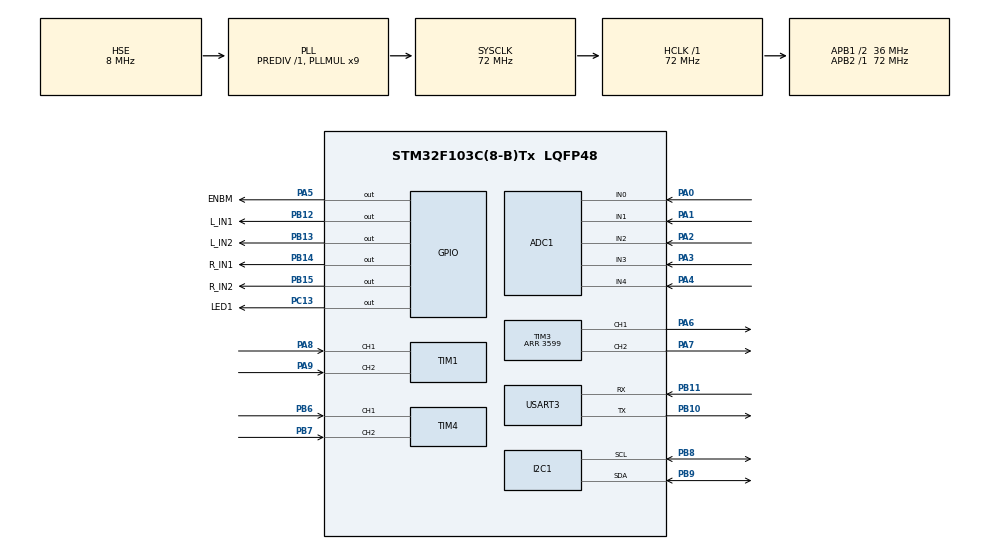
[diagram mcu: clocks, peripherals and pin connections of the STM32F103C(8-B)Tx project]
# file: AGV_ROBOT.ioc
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ADC1.Channel-0\#ChannelRegularConversion=ADC_CHANNEL_0
ADC1.Channel-1\#ChannelRegularConversion=ADC_CHANNEL_1
ADC1.Channel-2\#ChannelRegularConversion=ADC_CHANNEL_2
ADC1.Channel-3\#ChannelRegularConversion=ADC_CHANNEL_3
ADC1.Channel-4\#ChannelRegularConversion=ADC_CHANNEL_4
ADC1.ContinuousConvMode=ENABLE
ADC1.DataAlign=ADC_DATAALIGN_RIGHT
ADC1.NbrOfConversion=5
ADC1.NbrOfConversionFlag=1
ADC1.Rank-0\#ChannelRegularConversion=1
ADC1.Rank-1\#ChannelRegularConversion=2
ADC1.Rank-2\#ChannelRegularConversion=3
ADC1.Rank-3\#ChannelRegularConversion=4
ADC1.Rank-4\#ChannelRegularConversion=5
ADC1.SamplingTime-0\#ChannelRegularConversion=ADC_SAMPLETIME_239CYCLES_5
ADC1.SamplingTime-1\#ChannelRegularConversion=ADC_SAMPLETIME_239CYCLES_5
ADC1.SamplingTime-2\#ChannelRegularConversion=ADC_SAMPLETIME_239CYCLES_5
ADC1.SamplingTime-3\#ChannelRegularConversion=ADC_SAMPLETIME_239CYCLES_5
ADC1.SamplingTime-4\#ChannelRegularConversion=ADC_SAMPLETIME_239CYCLES_5
ADC1.master=1
Dma.ADC1.0.Direction=DMA_PERIPH_TO_MEMORY
Dma.ADC1.0.Instance=DMA1_Channel1
Dma.ADC1.0.MemDataAlignment=DMA_MDATAALIGN_HALFWORD
Dma.ADC1.0.MemInc=DMA_MINC_ENABLE
Dma.ADC1.0.Mode=DMA_CIRCULAR
Dma.ADC1.0.PeriphDataAlignment=DMA_PDATAALIGN_HALFWORD
Dma.ADC1.0.PeriphInc=DMA_PINC_DISABLE
Dma.ADC1.0.Priority=DMA_PRIORITY_HIGH
Dma.Request0=ADC1
Mcu.Family=STM32F1
Mcu.Name=STM32F103C(8-B)Tx
Mcu.Package=LQFP48
NVIC.DMA1_Channel1_IRQn=true\:0\:0\:false\:false\:true\:false\:true\:true
NVIC.PriorityGroup=NVIC_PRIORITYGROUP_4
PA0-WKUP.Signal=ADCx_IN0
PA1.Signal=ADCx_IN1
PA13.Mode=Serial_Wire
PA13.Signal=SYS_JTMS-SWDIO
PA14.Mode=Serial_Wire
PA14.Signal=SYS_JTCK-SWCLK
PA2.Signal=ADCx_IN2
PA3.Signal=ADCx_IN3
PA4.Signal=ADCx_IN4
PA5.GPIO_Label=ENBM
PA5.Signal=GPIO_Output
PA6.Signal=S_TIM3_CH1
PA7.Signal=S_TIM3_CH2
PA8.Signal=S_TIM1_CH1
PA9.Signal=S_TIM1_CH2
PB10.Mode=Asynchronous
PB10.Signal=USART3_TX
PB11.Mode=Asynchronous
PB11.Signal=USART3_RX
PB12.GPIO_Label=L_IN1
PB12.Signal=GPIO_Output
PB13.GPIO_Label=L_IN2
PB13.Signal=GPIO_Output
PB14.GPIO_Label=R_IN1
PB14.Signal=GPIO_Output
PB15.GPIO_Label=R_IN2
PB15.Signal=GPIO_Output
PB6.Signal=S_TIM4_CH1
PB7.Signal=S_TIM4_CH2
PB8.Mode=I2C
PB8.Signal=I2C1_SCL
PB9.Mode=I2C
PB9.Signal=I2C1_SDA
PC13-TAMPER-RTC.GPIO_Label=LED1
PC13-TAMPER-RTC.Signal=GPIO_Output
PC14-OSC32_IN.Mode=LSE-External-Clock-Source
PC14-OSC32_IN.Signal=RCC_OSC32_IN
PC15-OSC32_OUT.Mode=LSE-External-Clock-Source
PC15-OSC32_OUT.Signal=RCC_OSC32_OUT
PD0-OSC_IN.Mode=HSE-External-Oscillator
PD0-OSC_IN.Signal=RCC_OSC_IN
PD1-OSC_OUT.Mode=HSE-External-Oscillator
PD1-OSC_OUT.Signal=RCC_OSC_OUT
ProjectManager.HeapSize=0x200
ProjectManager.StackSize=0x400
ProjectManager.TargetToolchain=CMake
RCC.ADCPresc=RCC_ADCPCLK2_DIV6
RCC.AHBFreq_Value=72000000
RCC.APB1CLKDivider=RCC_HCLK_DIV2
RCC.APB1Freq_Value=36000000
RCC.APB1TimFreq_Value=72000000
RCC.APB2Freq_Value=72000000
RCC.APB2TimFreq_Value=72000000
RCC.HCLKFreq_Value=72000000
RCC.PLLMUL=RCC_PLL_MUL9
RCC.PLLSourceVirtual=RCC_PLLSOURCE_HSE
RCC.SYSCLKFreq_VALUE=72000000
RCC.SYSCLKSource=RCC_SYSCLKSOURCE_PLLCLK
RCC.USBFreq_Value=72000000
SH.ADCx_IN0.0=ADC1_IN0,IN0
SH.ADCx_IN1.0=ADC1_IN1,IN1
SH.ADCx_IN2.0=ADC1_IN2,IN2
SH.ADCx_IN3.0=ADC1_IN3,IN3
SH.ADCx_IN4.0=ADC1_IN4,IN4
SH.S_TIM1_CH1.0=TIM1_CH1,Encoder_Interface
SH.S_TIM1_CH2.0=TIM1_CH2,Encoder_Interface
SH.S_TIM3_CH1.0=TIM3_CH1,PWM Generation1 CH1
SH.S_TIM3_CH2.0=TIM3_CH2,PWM Generation2 CH2
SH.S_TIM4_CH1.0=TIM4_CH1,Encoder_Interface
SH.S_TIM4_CH2.0=TIM4_CH2,Encoder_Interface
TIM1.EncoderMode=TIM_ENCODERMODE_TI12
TIM1.IC1Filter=10
TIM1.IC2Filter=10
TIM3.Channel-PWM\ Generation1\ CH1=TIM_CHANNEL_1
TIM3.Channel-PWM\ Generation2\ CH2=TIM_CHANNEL_2
TIM3.Period=3599
TIM4.EncoderMode=TIM_ENCODERMODE_TI12
TIM4.IC1Filter=10
TIM4.IC2Filter=10
USART3.VirtualMode=VM_ASYNC
VP_TIM3_VS_ClockSourceINT.Mode=Internal
board=custom

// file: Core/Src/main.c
/* USER CODE BEGIN Header */
/**
  ******************************************************************************
  * @file           : main.c
  * @brief          : Main program body
  ******************************************************************************
  * @attention
  *
  * Copyright (c) 2026 STMicroelectronics.
  * All rights reserved.
  *
  * This software is licensed under terms that can be found in the LICENSE file
  * in the root directory of this software component.
  * If no LICENSE file comes with this software, it is provided AS-IS.
  *
  ******************************************************************************
  */
/* USER CODE END Header */
#include "main.h"

/* USER CODE BEGIN Includes */

#include "motor.h"
#include "motor_test.h"

#include "bsp_uart.h"
#include "color_sensor_test.h"

#include "line_sensor.h"
#include "line_sensor_test.h"

#include "line_tracking.h"

#include "robot_config.h"
#include "encoder.h"
#include "encoder_test.h"
#include "wheel_control.h"
#include "agv_motion.h"
#include "agv_mission.h"
#include "control_timer.h"
#include "motion_test.h"
#include "line_calib.h"
#include "line_auto_calib.h"

/* USER CODE END Includes */

/* USER CODE BEGIN PD */

/* ================= CHON CHE DO CHAY ================= */
#define APP_MODE_MISSION          0   /* chay nhiem vu day du (de 2) */
#define APP_MODE_ENCODER_TEST     1   /* B1: kiem tra encoder, xoay tay banh */
#define APP_MODE_SPEED_TEST       2   /* B2: nac vong toc do banh */
#define APP_MODE_STRAIGHT_TEST    3   /* B3: chay thang 1000 mm, hieu chuan mm/xung */
#define APP_MODE_FOLLOW_TEST      4   /* B4: bam line 3000 mm */
#define APP_MODE_LINE_SENSOR_TEST 5   /* in gia tri 5 mat do line */
#define APP_MODE_COLOR_TEST       6   /* in R,G,B,C cam bien mau */
#define APP_MODE_DUTY_TEST        7   /* B0: do mo hinh duty-toc do tung dong co */
#define APP_MODE_LINE_CALIB       8   /* tu dong do BLACK/WHITE 5 mat */

#define APP_MODE                  APP_MODE_MISSION  /* SAFETY: test calib before mission */

/* USER CODE END PD */

ADC_HandleTypeDef hadc1;
DMA_HandleTypeDef hdma_adc1;

I2C_HandleTypeDef hi2c1;

TIM_HandleTypeDef htim1;
TIM_HandleTypeDef htim3;
TIM_HandleTypeDef htim4;

UART_HandleTypeDef huart3;

void SystemClock_Config(void);
static void MX_GPIO_Init(void);
static void MX_DMA_Init(void);
static void MX_TIM3_Init(void);
static void MX_TIM1_Init(void);
static void MX_TIM4_Init(void);
static void MX_USART3_UART_Init(void);
static void MX_ADC1_Init(void);
static void MX_I2C1_Init(void);

int main(void)
{

  /* USER CODE BEGIN 1 */
  /* Lay co reset TRUOC HAL_Init/SystemClock_Config, va xoa co de
     lan reset tiep theo khong bi dinh co POR tu qua khu. */
  uint32_t reset_flags = RCC->CSR;
  __HAL_RCC_CLEAR_RESET_FLAGS();
  uint8_t manual_nrst =
      ((reset_flags & RCC_CSR_PINRSTF) != 0U) &&
      ((reset_flags & RCC_CSR_PORRSTF) == 0U);
  /* USER CODE END 1 */

  /* MCU Configuration--------------------------------------------------------*/

  /* Reset of all peripherals, Initializes the Flash interface and the Systick. */
  HAL_Init();

  /* Configure the system clock */
  SystemClock_Config();

  /* Initialize all configured peripherals */
  MX_GPIO_Init();
  MX_DMA_Init();
  MX_TIM3_Init();
  MX_TIM1_Init();
  MX_TIM4_Init();
  MX_USART3_UART_Init();
  MX_ADC1_Init();
  MX_I2C1_Init();
  /* USER CODE BEGIN 2 */
  /* ================= KHOI TAO ROBOT ================= */

  /* 1. UART */
  BSP_UART_Init(&huart3);

  /* 2. 5 cam bien line (ADC + DMA) */
  if (LineSensor_Init(&hadc1) != HAL_OK)
  {
      BSP_UART_Printf("LINE SENSOR INIT FAILED\r\n");
      Error_Handler();
  }

  /* Calib chi chay tren NRST (hoac lan dau Flash chua co data).
     Dong co chua khoi tao -> khong co chuyen dong tu dong. */
  if (LineAutoCalib_Boot(manual_nrst) != HAL_OK)
  {
      LineAutoCalib_ErrorBlink();
  }

#if (APP_MODE == APP_MODE_MISSION)

  /* 3. Dong co, encoder */
  if (Motor_Init() != MOTOR_OK)
  {
      BSP_UART_Printf("MOTOR INIT FAILED\r\n");
      Error_Handler();
  }

  if (Encoder_Init() != HAL_OK)
  {
      BSP_UART_Printf("ENCODER INIT FAILED\r\n");
      Error_Handler();
  }

  /* 4. Cam bien mau + may trang thai nhiem vu */
  if (AGV_Mission_Init(&hi2c1) != HAL_OK)
  {
      BSP_UART_Printf("COLOR SENSOR INIT FAILED\r\n");
  }

  AGV_Motion_Init();

  /* 5. Bat vong dieu khien 10 ms (TIM2) */
  if (ControlTimer_Init(AGV_Motion_Tick, ROBOT_CONTROL_PERIOD_MS) != HAL_OK)
  {
      Error_Handler();
  }

  BSP_UART_Printf("AGV READY\r\n");

#elif (APP_MODE == APP_MODE_ENCODER_TEST)

  EncoderTest_Init();

#elif (APP_MODE == APP_MODE_SPEED_TEST)

  MotionTest_Init(MOTION_TEST_SPEED);

#elif (APP_MODE == APP_MODE_STRAIGHT_TEST)

  MotionTest_Init(MOTION_TEST_STRAIGHT);

#elif (APP_MODE == APP_MODE_FOLLOW_TEST)

  MotionTest_Init(MOTION_TEST_FOLLOW);

#elif (APP_MODE == APP_MODE_LINE_SENSOR_TEST)

  LineSensorTest_Init();

#elif (APP_MODE == APP_MODE_COLOR_TEST)

  ColorSensorTest_Init(&hi2c1);

#elif (APP_MODE == APP_MODE_DUTY_TEST)

  MotionTest_Init(MOTION_TEST_DUTY);

#elif (APP_MODE == APP_MODE_LINE_CALIB)

  BSP_UART_Printf("LINE CALIB completed at boot; press NRST to recalibrate\r\n");

#endif

  /* USER CODE END 2 */

  /* Infinite loop */
  while (1)
  {

    /* USER CODE BEGIN 3 */

#if (APP_MODE == APP_MODE_MISSION)

    AGV_Mission_Run();

#elif (APP_MODE == APP_MODE_ENCODER_TEST)

    EncoderTest_Run();

#elif ((APP_MODE == APP_MODE_SPEED_TEST) || \
       (APP_MODE == APP_MODE_STRAIGHT_TEST) || \
       (APP_MODE == APP_MODE_FOLLOW_TEST) || \
       (APP_MODE == APP_MODE_DUTY_TEST))

    MotionTest_Run();

#elif (APP_MODE == APP_MODE_LINE_SENSOR_TEST)

    LineSensorTest_Run();

#elif (APP_MODE == APP_MODE_COLOR_TEST)

    ColorSensorTest_Run();

#elif (APP_MODE == APP_MODE_LINE_CALIB)

    LineSensor_Update();
    HAL_Delay(100U);

#endif

  }
  /* USER CODE END 3 */
}

void SystemClock_Config(void)
{
  RCC_OscInitTypeDef RCC_OscInitStruct = {0};
  RCC_ClkInitTypeDef RCC_ClkInitStruct = {0};
  RCC_PeriphCLKInitTypeDef PeriphClkInit = {0};

  /** Initializes the RCC Oscillators according to the specified parameters
  * in the RCC_OscInitTypeDef structure.
  */
  RCC_OscInitStruct.OscillatorType = RCC_OSCILLATORTYPE_HSE;
  RCC_OscInitStruct.HSEState = RCC_HSE_ON;
  RCC_OscInitStruct.HSEPredivValue = RCC_HSE_PREDIV_DIV1;
  RCC_OscInitStruct.HSIState = RCC_HSI_ON;
  RCC_OscInitStruct.PLL.PLLState = RCC_PLL_ON;
  RCC_OscInitStruct.PLL.PLLSource = RCC_PLLSOURCE_HSE;
  RCC_OscInitStruct.PLL.PLLMUL = RCC_PLL_MUL9;
  if (HAL_RCC_OscConfig(&RCC_OscInitStruct) != HAL_OK)
  {
    Error_Handler();
  }

  /** Initializes the CPU, AHB and APB buses clocks
  */
  RCC_ClkInitStruct.ClockType = RCC_CLOCKTYPE_HCLK|RCC_CLOCKTYPE_SYSCLK
                              |RCC_CLOCKTYPE_PCLK1|RCC_CLOCKTYPE_PCLK2;
  RCC_ClkInitStruct.SYSCLKSource = RCC_SYSCLKSOURCE_PLLCLK;
  RCC_ClkInitStruct.AHBCLKDivider = RCC_SYSCLK_DIV1;
  RCC_ClkInitStruct.APB1CLKDivider = RCC_HCLK_DIV2;
  RCC_ClkInitStruct.APB2CLKDivider = RCC_HCLK_DIV1;

  if (HAL_RCC_ClockConfig(&RCC_ClkInitStruct, FLASH_LATENCY_2) != HAL_OK)
  {
    Error_Handler();
  }
  PeriphClkInit.PeriphClockSelection = RCC_PERIPHCLK_ADC;
  PeriphClkInit.AdcClockSelection = RCC_ADCPCLK2_DIV6;
  if (HAL_RCCEx_PeriphCLKConfig(&PeriphClkInit) != HAL_OK)
  {
    Error_Handler();
  }
}

static void MX_ADC1_Init(void)
{

  ADC_ChannelConfTypeDef sConfig = {0};

  /** Common config
  */
  hadc1.Instance = ADC1;
  hadc1.Init.ScanConvMode = ADC_SCAN_ENABLE;
  hadc1.Init.ContinuousConvMode = ENABLE;
  hadc1.Init.DiscontinuousConvMode = DISABLE;
  hadc1.Init.ExternalTrigConv = ADC_SOFTWARE_START;
  hadc1.Init.DataAlign = ADC_DATAALIGN_RIGHT;
  hadc1.Init.NbrOfConversion = 5;
  if (HAL_ADC_Init(&hadc1) != HAL_OK)
  {
    Error_Handler();
  }

  /** Configure Regular Channel
  */
  sConfig.Channel = ADC_CHANNEL_0;
  sConfig.Rank = ADC_REGULAR_RANK_1;
  sConfig.SamplingTime = ADC_SAMPLETIME_239CYCLES_5;
  if (HAL_ADC_ConfigChannel(&hadc1, &sConfig) != HAL_OK)
  {
    Error_Handler();
  }

  /** Configure Regular Channel
  */
  sConfig.Channel = ADC_CHANNEL_1;
  sConfig.Rank = ADC_REGULAR_RANK_2;
  if (HAL_ADC_ConfigChannel(&hadc1, &sConfig) != HAL_OK)
  {
    Error_Handler();
  }

  /** Configure Regular Channel
  */
  sConfig.Channel = ADC_CHANNEL_2;
  sConfig.Rank = ADC_REGULAR_RANK_3;
  if (HAL_ADC_ConfigChannel(&hadc1, &sConfig) != HAL_OK)
  {
    Error_Handler();
  }

  /** Configure Regular Channel
  */
  sConfig.Channel = ADC_CHANNEL_3;
  sConfig.Rank = ADC_REGULAR_RANK_4;
  if (HAL_ADC_ConfigChannel(&hadc1, &sConfig) != HAL_OK)
  {
    Error_Handler();
  }

  /** Configure Regular Channel
  */
  sConfig.Channel = ADC_CHANNEL_4;
  sConfig.Rank = ADC_REGULAR_RANK_5;
  if (HAL_ADC_ConfigChannel(&hadc1, &sConfig) != HAL_OK)
  {
    Error_Handler();
  }

}

static void MX_I2C1_Init(void)
{

  hi2c1.Instance = I2C1;
  hi2c1.Init.ClockSpeed = 100000;
  hi2c1.Init.DutyCycle = I2C_DUTYCYCLE_2;
  hi2c1.Init.OwnAddress1 = 0;
  hi2c1.Init.AddressingMode = I2C_ADDRESSINGMODE_7BIT;
  hi2c1.Init.DualAddressMode = I2C_DUALADDRESS_DISABLE;
  hi2c1.Init.OwnAddress2 = 0;
  hi2c1.Init.GeneralCallMode = I2C_GENERALCALL_DISABLE;
  hi2c1.Init.NoStretchMode = I2C_NOSTRETCH_DISABLE;
  if (HAL_I2C_Init(&hi2c1) != HAL_OK)
  {
    Error_Handler();
  }

}

static void MX_TIM1_Init(void)
{

  TIM_Encoder_InitTypeDef sConfig = {0};
  TIM_MasterConfigTypeDef sMasterConfig = {0};

  htim1.Instance = TIM1;
  htim1.Init.Prescaler = 0;
  htim1.Init.CounterMode = TIM_COUNTERMODE_UP;
  htim1.Init.Period = 65535;
  htim1.Init.ClockDivision = TIM_CLOCKDIVISION_DIV1;
  htim1.Init.RepetitionCounter = 0;
  htim1.Init.AutoReloadPreload = TIM_AUTORELOAD_PRELOAD_DISABLE;
  sConfig.EncoderMode = TIM_ENCODERMODE_TI12;
  sConfig.IC1Polarity = TIM_ICPOLARITY_RISING;
  sConfig.IC1Selection = TIM_ICSELECTION_DIRECTTI;
  sConfig.IC1Prescaler = TIM_ICPSC_DIV1;
  sConfig.IC1Filter = 10;
  sConfig.IC2Polarity = TIM_ICPOLARITY_RISING;
  sConfig.IC2Selection = TIM_ICSELECTION_DIRECTTI;
  sConfig.IC2Prescaler = TIM_ICPSC_DIV1;
  sConfig.IC2Filter = 10;
  if (HAL_TIM_Encoder_Init(&htim1, &sConfig) != HAL_OK)
  {
    Error_Handler();
  }
  sMasterConfig.MasterOutputTrigger = TIM_TRGO_RESET;
  sMasterConfig.MasterSlaveMode = TIM_MASTERSLAVEMODE_DISABLE;
  if (HAL_TIMEx_MasterConfigSynchronization(&htim1, &sMasterConfig) != HAL_OK)
  {
    Error_Handler();
  }

}

static void MX_TIM3_Init(void)
{

  TIM_ClockConfigTypeDef sClockSourceConfig = {0};
  TIM_MasterConfigTypeDef sMasterConfig = {0};
  TIM_OC_InitTypeDef sConfigOC = {0};

  htim3.Instance = TIM3;
  htim3.Init.Prescaler = 0;
  htim3.Init.CounterMode = TIM_COUNTERMODE_UP;
  htim3.Init.Period = 3599;
  htim3.Init.ClockDivision = TIM_CLOCKDIVISION_DIV1;
  htim3.Init.AutoReloadPreload = TIM_AUTORELOAD_PRELOAD_DISABLE;
  if (HAL_TIM_Base_Init(&htim3) != HAL_OK)
  {
    Error_Handler();
  }
  sClockSourceConfig.ClockSource = TIM_CLOCKSOURCE_INTERNAL;
  if (HAL_TIM_ConfigClockSource(&htim3, &sClockSourceConfig) != HAL_OK)
  {
    Error_Handler();
  }
  if (HAL_TIM_PWM_Init(&htim3) != HAL_OK)
  {
    Error_Handler();
  }
  sMasterConfig.MasterOutputTrigger = TIM_TRGO_RESET;
  sMasterConfig.MasterSlaveMode = TIM_MASTERSLAVEMODE_DISABLE;
  if (HAL_TIMEx_MasterConfigSynchronization(&htim3, &sMasterConfig) != HAL_OK)
  {
    Error_Handler();
  }
  sConfigOC.OCMode = TIM_OCMODE_PWM1;
  sConfigOC.Pulse = 0;
  sConfigOC.OCPolarity = TIM_OCPOLARITY_HIGH;
  sConfigOC.OCFastMode = TIM_OCFAST_DISABLE;
  if (HAL_TIM_PWM_ConfigChannel(&htim3, &sConfigOC, TIM_CHANNEL_1) != HAL_OK)
  {
    Error_Handler();
  }
  if (HAL_TIM_PWM_ConfigChannel(&htim3, &sConfigOC, TIM_CHANNEL_2) != HAL_OK)
  {
    Error_Handler();
  }
  HAL_TIM_MspPostInit(&htim3);

}

static void MX_TIM4_Init(void)
{

  TIM_Encoder_InitTypeDef sConfig = {0};
  TIM_MasterConfigTypeDef sMasterConfig = {0};

  htim4.Instance = TIM4;
  htim4.Init.Prescaler = 0;
  htim4.Init.CounterMode = TIM_COUNTERMODE_UP;
  htim4.Init.Period = 65535;
  htim4.Init.ClockDivision = TIM_CLOCKDIVISION_DIV1;
  htim4.Init.AutoReloadPreload = TIM_AUTORELOAD_PRELOAD_DISABLE;
  sConfig.EncoderMode = TIM_ENCODERMODE_TI12;
  sConfig.IC1Polarity = TIM_ICPOLARITY_RISING;
  sConfig.IC1Selection = TIM_ICSELECTION_DIRECTTI;
  sConfig.IC1Prescaler = TIM_ICPSC_DIV1;
  sConfig.IC1Filter = 10;
  sConfig.IC2Polarity = TIM_ICPOLARITY_RISING;
  sConfig.IC2Selection = TIM_ICSELECTION_DIRECTTI;
  sConfig.IC2Prescaler = TIM_ICPSC_DIV1;
  sConfig.IC2Filter = 10;
  if (HAL_TIM_Encoder_Init(&htim4, &sConfig) != HAL_OK)
  {
    Error_Handler();
  }
  sMasterConfig.MasterOutputTrigger = TIM_TRGO_RESET;
  sMasterConfig.MasterSlaveMode = TIM_MASTERSLAVEMODE_DISABLE;
  if (HAL_TIMEx_MasterConfigSynchronization(&htim4, &sMasterConfig) != HAL_OK)
  {
    Error_Handler();
  }

}

static void MX_USART3_UART_Init(void)
{

  huart3.Instance = USART3;
  huart3.Init.BaudRate = 115200;
  huart3.Init.WordLength = UART_WORDLENGTH_8B;
  huart3.Init.StopBits = UART_STOPBITS_1;
  huart3.Init.Parity = UART_PARITY_NONE;
  huart3.Init.Mode = UART_MODE_TX_RX;
  huart3.Init.HwFlowCtl = UART_HWCONTROL_NONE;
  huart3.Init.OverSampling = UART_OVERSAMPLING_16;
  if (HAL_UART_Init(&huart3) != HAL_OK)
  {
    Error_Handler();
  }

}

static void MX_DMA_Init(void)
{

  /* DMA controller clock enable */
  __HAL_RCC_DMA1_CLK_ENABLE();

  /* DMA interrupt init */
  /* DMA1_Channel1_IRQn interrupt configuration */
  HAL_NVIC_SetPriority(DMA1_Channel1_IRQn, 0, 0);
  HAL_NVIC_EnableIRQ(DMA1_Channel1_IRQn);

}

static void MX_GPIO_Init(void)
{
  GPIO_InitTypeDef GPIO_InitStruct = {0};

  /* GPIO Ports Clock Enable */
  __HAL_RCC_GPIOC_CLK_ENABLE();
  __HAL_RCC_GPIOD_CLK_ENABLE();
  __HAL_RCC_GPIOA_CLK_ENABLE();
  __HAL_RCC_GPIOB_CLK_ENABLE();

  /*Configure GPIO pin Output Level */
  HAL_GPIO_WritePin(LED1_GPIO_Port, LED1_Pin, GPIO_PIN_SET);

  /*Configure GPIO pin Output Level */
  HAL_GPIO_WritePin(ENBM_GPIO_Port, ENBM_Pin, GPIO_PIN_RESET);

  /*Configure GPIO pin Output Level */
  HAL_GPIO_WritePin(GPIOB, L_IN1_Pin|L_IN2_Pin|R_IN1_Pin|R_IN2_Pin, GPIO_PIN_RESET);

  /*Configure GPIO pin : LED1_Pin */
  GPIO_InitStruct.Pin = LED1_Pin;
  GPIO_InitStruct.Mode = GPIO_MODE_OUTPUT_PP;
  GPIO_InitStruct.Pull = GPIO_NOPULL;
  GPIO_InitStruct.Speed = GPIO_SPEED_FREQ_LOW;
  HAL_GPIO_Init(LED1_GPIO_Port, &GPIO_InitStruct);

  /*Configure GPIO pin : ENBM_Pin */
  GPIO_InitStruct.Pin = ENBM_Pin;
  GPIO_InitStruct.Mode = GPIO_MODE_OUTPUT_PP;
  GPIO_InitStruct.Pull = GPIO_NOPULL;
  GPIO_InitStruct.Speed = GPIO_SPEED_FREQ_LOW;
  HAL_GPIO_Init(ENBM_GPIO_Port, &GPIO_InitStruct);

  /*Configure GPIO pins : L_IN1_Pin L_IN2_Pin R_IN1_Pin R_IN2_Pin */
  GPIO_InitStruct.Pin = L_IN1_Pin|L_IN2_Pin|R_IN1_Pin|R_IN2_Pin;
  GPIO_InitStruct.Mode = GPIO_MODE_OUTPUT_PP;
  GPIO_InitStruct.Pull = GPIO_NOPULL;
  GPIO_InitStruct.Speed = GPIO_SPEED_FREQ_LOW;
  HAL_GPIO_Init(GPIOB, &GPIO_InitStruct);

}

void Error_Handler(void)
{
  __disable_irq();
  while (1)
  {
  }
}
